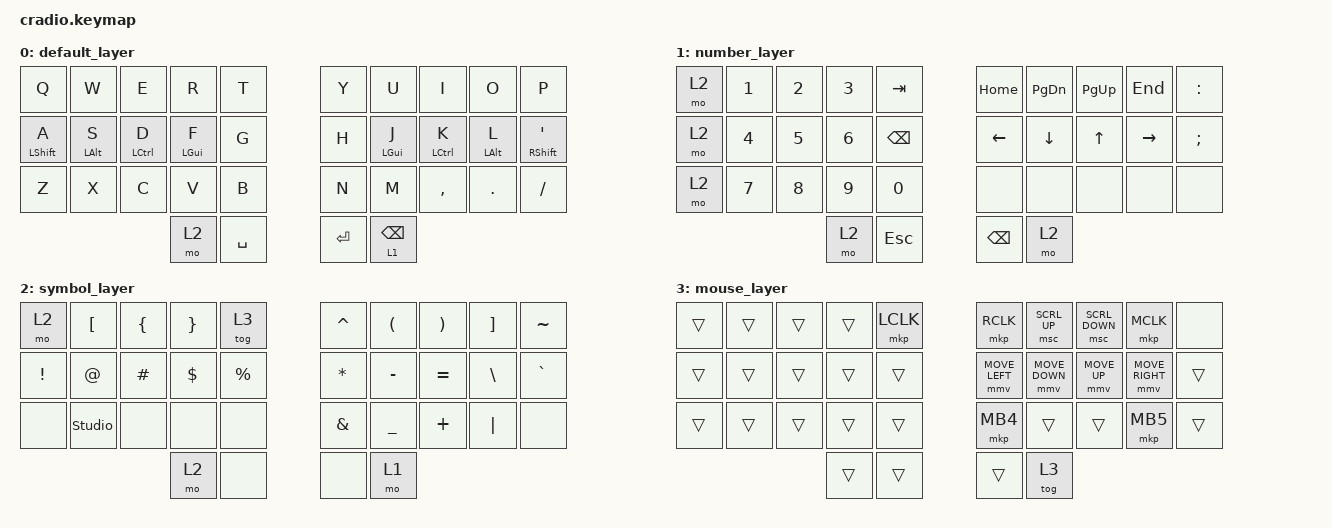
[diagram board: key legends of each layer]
// Copyright (c) The ZMK Contributors
// SPDX-License-Identifier: MIT

// Mouse: move units per 16ms tick (ZMK default 600), scroll step (default 10)
#define ZMK_POINTING_DEFAULT_MOVE_VAL 1000
#define ZMK_POINTING_DEFAULT_SCRL_VAL 20

#include <behaviors.dtsi>
#include <dt-bindings/zmk/bt.h>
#include <dt-bindings/zmk/keys.h>
#include <dt-bindings/zmk/mouse.h>

/ {
    behaviors {
        // tap = letter, hold = modifier
        ht: hold_tap {
            compatible = "zmk,behavior-hold-tap";
            #binding-cells = <2>;
            flavor = "tap-preferred";
            tapping-term-ms = <200>;
            require-prior-idle-ms = <(-1)>;
            bindings = <&kp>, <&kp>;
        };
        // mouse cursor acceleration
        mmv {
            acceleration-exponent = <1>;
            time-to-max-speed-ms = <600>;
            delay-ms = <0>;
        };
        // mouse scroll acceleration
        msc {
            acceleration-exponent = <0>;
            time-to-max-speed-ms = <40>;
            delay-ms = <0>;
        };
    };

    keymap {
        compatible = "zmk,keymap";

        default_layer {
            bindings = <
/* row1 */ &kp Q     &kp W     &kp E     &kp R     &kp T        &kp Y        &kp U        &kp I        &kp O        &kp P
/* row2 */ &ht LSHIFT A &ht LALT S &ht LCTRL D &ht LGUI F &kp G    &kp H        &ht LGUI J   &ht LCTRL K   &ht LALT L    &ht RSHIFT APOSTROPHE
/* row3 */ &kp Z     &kp X     &kp C     &kp V     &kp B        &kp N        &kp M        &kp COMMA    &kp DOT      &kp SLASH
/* thmb */ &mo 2     &kp SPACE                      &kp ENTER   &lt 1 BSPC
            >;
        };

        number_layer {
            bindings = <
/* row1 */ &mo 2  &kp N1  &kp N2  &kp N3  &kp TAB    &kp HOME   &kp PAGE_DOWN  &kp PAGE_UP  &kp END  &kp COLON
/* row2 */ &mo 2  &kp N4  &kp N5  &kp N6  &kp BSPC   &kp LEFT  &kp DOWN       &kp UP       &kp RIGHT &kp SEMICOLON
/* row3 */ &mo 2  &kp N7  &kp N8  &kp N9  &kp N0     &none     &none         &none        &none  &none
/* thmb */ &mo 2  &kp ESC                          &kp BSPC  &mo 2
            >;
        };

        symbol_layer {
            bindings = <
/* row1 */ &mo 2  &kp LBKT &kp LBRC  &kp RBRC  &tog 3   &kp CARET  &kp LPAR  &kp RPAR  &kp RBKT &kp TILDE
/* row2 */ &kp EXCLAMATION &kp AT &kp HASH &kp DOLLAR &kp PERCENT  &kp ASTERISK &kp MINUS &kp EQUAL &kp BACKSLASH &kp GRAVE
/* row3 */ &none  &studio_unlock &none  &none  &none     &kp AMPERSAND &kp UNDERSCORE &kp PLUS  &kp PIPE  &none
/* thmb */ &mo 2  &none                          &none     &mo 1
            >;
        };

        mouse_layer {
            bindings = <
/* row1 */ &trans  &trans  &trans  &trans  &mkp LCLK   &mkp RCLK  &msc SCRL_UP  &msc SCRL_DOWN  &mkp MCLK  &none
/* row2 */ &trans  &trans  &trans  &trans  &trans      &mmv MOVE_LEFT  &mmv MOVE_DOWN  &mmv MOVE_UP  &mmv MOVE_RIGHT  &trans
/* row3 */ &trans  &trans  &trans  &trans  &trans      &mkp MB4  &trans  &trans  &mkp MB5  &trans
/* thmb */ &trans  &trans                          &trans  &tog 3
            >;
        };
    };
};
